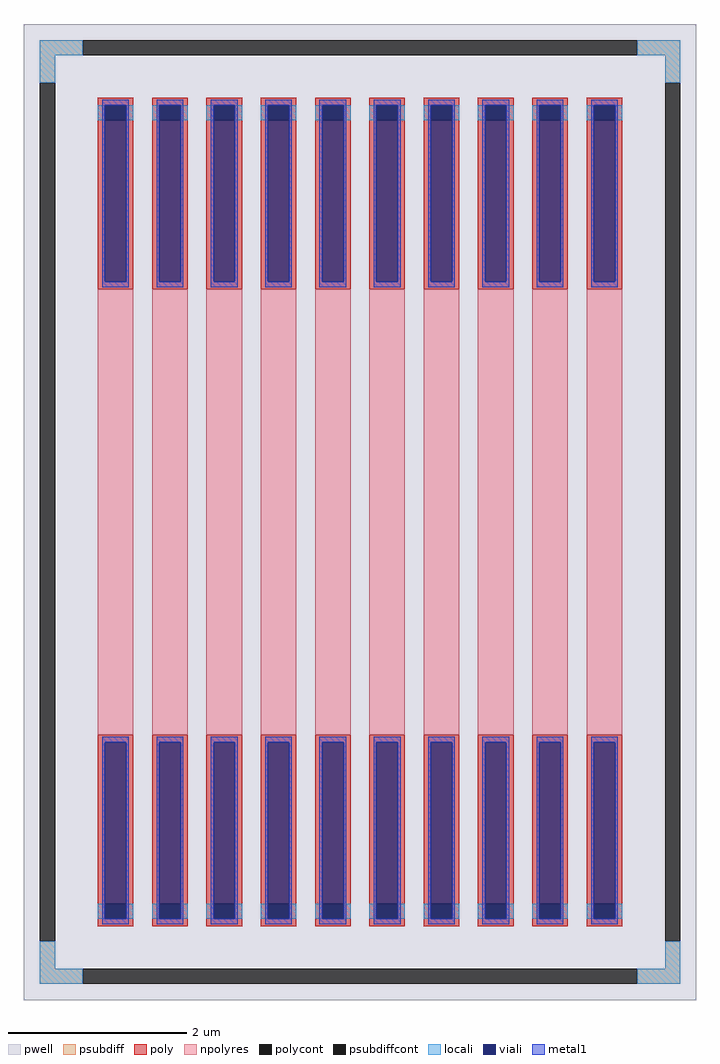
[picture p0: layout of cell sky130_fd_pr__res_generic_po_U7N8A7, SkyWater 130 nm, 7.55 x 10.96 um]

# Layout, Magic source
magic
tech sky130A
magscale 1 2
<< pwell >>
rect -755 -1096 755 1096
<< psubdiff >>
rect -719 1026 -623 1060
rect 623 1026 719 1060
rect -719 964 -685 1026
rect 685 964 719 1026
rect -719 -1026 -685 -964
rect 685 -1026 719 -964
rect -719 -1060 -623 -1026
rect 623 -1060 719 -1026
<< psubdiffcont >>
rect -623 1026 623 1060
rect -719 -964 -685 964
rect 685 -964 719 964
rect -623 -1060 623 -1026
<< poly >>
rect -589 914 -509 930
rect -589 880 -573 914
rect -525 880 -509 914
rect -589 500 -509 880
rect -589 -880 -509 -500
rect -589 -914 -573 -880
rect -525 -914 -509 -880
rect -589 -930 -509 -914
rect -467 914 -387 930
rect -467 880 -451 914
rect -403 880 -387 914
rect -467 500 -387 880
rect -467 -880 -387 -500
rect -467 -914 -451 -880
rect -403 -914 -387 -880
rect -467 -930 -387 -914
rect -345 914 -265 930
rect -345 880 -329 914
rect -281 880 -265 914
rect -345 500 -265 880
rect -345 -880 -265 -500
rect -345 -914 -329 -880
rect -281 -914 -265 -880
rect -345 -930 -265 -914
rect -223 914 -143 930
rect -223 880 -207 914
rect -159 880 -143 914
rect -223 500 -143 880
rect -223 -880 -143 -500
rect -223 -914 -207 -880
rect -159 -914 -143 -880
rect -223 -930 -143 -914
rect -101 914 -21 930
rect -101 880 -85 914
rect -37 880 -21 914
rect -101 500 -21 880
rect -101 -880 -21 -500
rect -101 -914 -85 -880
rect -37 -914 -21 -880
rect -101 -930 -21 -914
rect 21 914 101 930
rect 21 880 37 914
rect 85 880 101 914
rect 21 500 101 880
rect 21 -880 101 -500
rect 21 -914 37 -880
rect 85 -914 101 -880
rect 21 -930 101 -914
rect 143 914 223 930
rect 143 880 159 914
rect 207 880 223 914
rect 143 500 223 880
rect 143 -880 223 -500
rect 143 -914 159 -880
rect 207 -914 223 -880
rect 143 -930 223 -914
rect 265 914 345 930
rect 265 880 281 914
rect 329 880 345 914
rect 265 500 345 880
rect 265 -880 345 -500
rect 265 -914 281 -880
rect 329 -914 345 -880
rect 265 -930 345 -914
rect 387 914 467 930
rect 387 880 403 914
rect 451 880 467 914
rect 387 500 467 880
rect 387 -880 467 -500
rect 387 -914 403 -880
rect 451 -914 467 -880
rect 387 -930 467 -914
rect 509 914 589 930
rect 509 880 525 914
rect 573 880 589 914
rect 509 500 589 880
rect 509 -880 589 -500
rect 509 -914 525 -880
rect 573 -914 589 -880
rect 509 -930 589 -914
<< polycont >>
rect -573 880 -525 914
rect -573 -914 -525 -880
rect -451 880 -403 914
rect -451 -914 -403 -880
rect -329 880 -281 914
rect -329 -914 -281 -880
rect -207 880 -159 914
rect -207 -914 -159 -880
rect -85 880 -37 914
rect -85 -914 -37 -880
rect 37 880 85 914
rect 37 -914 85 -880
rect 159 880 207 914
rect 159 -914 207 -880
rect 281 880 329 914
rect 281 -914 329 -880
rect 403 880 451 914
rect 403 -914 451 -880
rect 525 880 573 914
rect 525 -914 573 -880
<< npolyres >>
rect -589 -500 -509 500
rect -467 -500 -387 500
rect -345 -500 -265 500
rect -223 -500 -143 500
rect -101 -500 -21 500
rect 21 -500 101 500
rect 143 -500 223 500
rect 265 -500 345 500
rect 387 -500 467 500
rect 509 -500 589 500
<< locali >>
rect -719 1026 -623 1060
rect 623 1026 719 1060
rect -719 964 -685 1026
rect 685 964 719 1026
rect -589 880 -573 914
rect -525 880 -509 914
rect -467 880 -451 914
rect -403 880 -387 914
rect -345 880 -329 914
rect -281 880 -265 914
rect -223 880 -207 914
rect -159 880 -143 914
rect -101 880 -85 914
rect -37 880 -21 914
rect 21 880 37 914
rect 85 880 101 914
rect 143 880 159 914
rect 207 880 223 914
rect 265 880 281 914
rect 329 880 345 914
rect 387 880 403 914
rect 451 880 467 914
rect 509 880 525 914
rect 573 880 589 914
rect -589 -914 -573 -880
rect -525 -914 -509 -880
rect -467 -914 -451 -880
rect -403 -914 -387 -880
rect -345 -914 -329 -880
rect -281 -914 -265 -880
rect -223 -914 -207 -880
rect -159 -914 -143 -880
rect -101 -914 -85 -880
rect -37 -914 -21 -880
rect 21 -914 37 -880
rect 85 -914 101 -880
rect 143 -914 159 -880
rect 207 -914 223 -880
rect 265 -914 281 -880
rect 329 -914 345 -880
rect 387 -914 403 -880
rect 451 -914 467 -880
rect 509 -914 525 -880
rect 573 -914 589 -880
rect -719 -1026 -685 -964
rect 685 -1026 719 -964
rect -719 -1060 -623 -1026
rect 623 -1060 719 -1026
<< viali >>
rect -573 880 -525 914
rect -451 880 -403 914
rect -329 880 -281 914
rect -207 880 -159 914
rect -85 880 -37 914
rect 37 880 85 914
rect 159 880 207 914
rect 281 880 329 914
rect 403 880 451 914
rect 525 880 573 914
rect -573 517 -525 880
rect -451 517 -403 880
rect -329 517 -281 880
rect -207 517 -159 880
rect -85 517 -37 880
rect 37 517 85 880
rect 159 517 207 880
rect 281 517 329 880
rect 403 517 451 880
rect 525 517 573 880
rect -573 -880 -525 -517
rect -451 -880 -403 -517
rect -329 -880 -281 -517
rect -207 -880 -159 -517
rect -85 -880 -37 -517
rect 37 -880 85 -517
rect 159 -880 207 -517
rect 281 -880 329 -517
rect 403 -880 451 -517
rect 525 -880 573 -517
rect -573 -914 -525 -880
rect -451 -914 -403 -880
rect -329 -914 -281 -880
rect -207 -914 -159 -880
rect -85 -914 -37 -880
rect 37 -914 85 -880
rect 159 -914 207 -880
rect 281 -914 329 -880
rect 403 -914 451 -880
rect 525 -914 573 -880
<< metal1 >>
rect -579 914 -519 926
rect -579 517 -573 914
rect -525 517 -519 914
rect -579 505 -519 517
rect -457 914 -397 926
rect -457 517 -451 914
rect -403 517 -397 914
rect -457 505 -397 517
rect -335 914 -275 926
rect -335 517 -329 914
rect -281 517 -275 914
rect -335 505 -275 517
rect -213 914 -153 926
rect -213 517 -207 914
rect -159 517 -153 914
rect -213 505 -153 517
rect -91 914 -31 926
rect -91 517 -85 914
rect -37 517 -31 914
rect -91 505 -31 517
rect 31 914 91 926
rect 31 517 37 914
rect 85 517 91 914
rect 31 505 91 517
rect 153 914 213 926
rect 153 517 159 914
rect 207 517 213 914
rect 153 505 213 517
rect 275 914 335 926
rect 275 517 281 914
rect 329 517 335 914
rect 275 505 335 517
rect 397 914 457 926
rect 397 517 403 914
rect 451 517 457 914
rect 397 505 457 517
rect 519 914 579 926
rect 519 517 525 914
rect 573 517 579 914
rect 519 505 579 517
rect -579 -517 -519 -505
rect -579 -914 -573 -517
rect -525 -914 -519 -517
rect -579 -926 -519 -914
rect -457 -517 -397 -505
rect -457 -914 -451 -517
rect -403 -914 -397 -517
rect -457 -926 -397 -914
rect -335 -517 -275 -505
rect -335 -914 -329 -517
rect -281 -914 -275 -517
rect -335 -926 -275 -914
rect -213 -517 -153 -505
rect -213 -914 -207 -517
rect -159 -914 -153 -517
rect -213 -926 -153 -914
rect -91 -517 -31 -505
rect -91 -914 -85 -517
rect -37 -914 -31 -517
rect -91 -926 -31 -914
rect 31 -517 91 -505
rect 31 -914 37 -517
rect 85 -914 91 -517
rect 31 -926 91 -914
rect 153 -517 213 -505
rect 153 -914 159 -517
rect 207 -914 213 -517
rect 153 -926 213 -914
rect 275 -517 335 -505
rect 275 -914 281 -517
rect 329 -914 335 -517
rect 275 -926 335 -914
rect 397 -517 457 -505
rect 397 -914 403 -517
rect 451 -914 457 -517
rect 397 -926 457 -914
rect 519 -517 579 -505
rect 519 -914 525 -517
rect 573 -914 579 -517
rect 519 -926 579 -914
<< properties >>
string FIXED_BBOX -702 -1043 702 1043
string gencell sky130_fd_pr__res_generic_po
string library sky130
string parameters w 0.4 l 5 m 1 nx 10 wmin 0.330 lmin 1.650 rho 48.2 val 602.5 dummy 0 dw 0.0 term 0.0 sterm 0.0 caplen 0.4 snake 0 guard 1 glc 1 grc 1 gtc 1 gbc 1 roverlap 0 endcov 100 full_metal 1 hv_guard 0 n_guard 0 vias 1 viagb 0 viagt 0 viagl 0 viagr 0
<< end >>
